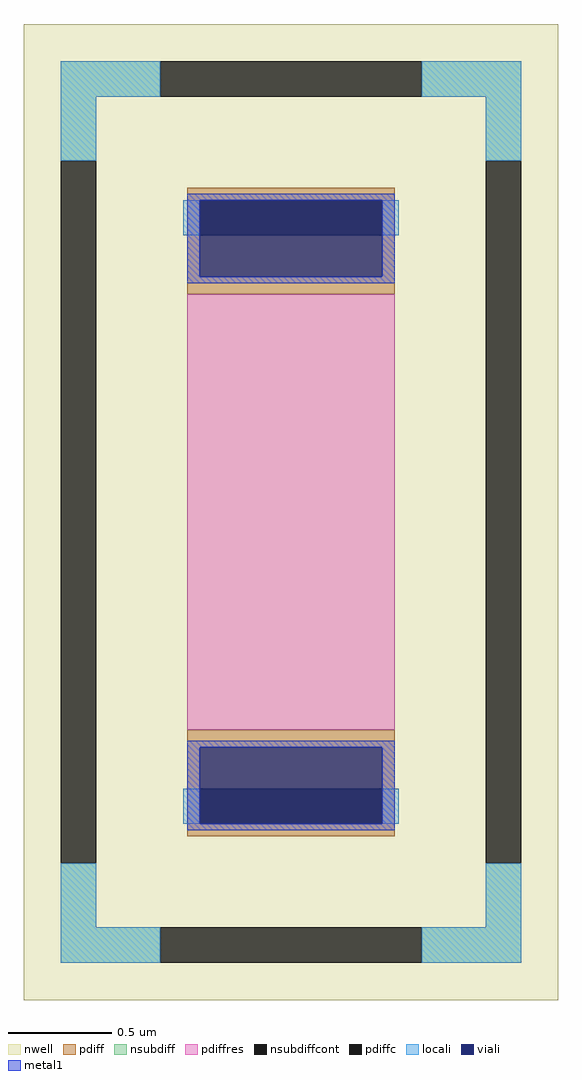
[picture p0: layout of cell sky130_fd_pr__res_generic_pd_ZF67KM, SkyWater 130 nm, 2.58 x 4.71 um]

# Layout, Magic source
magic
tech sky130A
magscale 1 2
<< nwell >>
rect -258 -471 258 471
<< pdiff >>
rect -100 301 100 313
rect -100 267 -88 301
rect 88 267 100 301
rect -100 210 100 267
rect -100 -267 100 -210
rect -100 -301 -88 -267
rect 88 -301 100 -267
rect -100 -313 100 -301
<< pdiffc >>
rect -88 267 88 301
rect -88 -301 88 -267
<< nsubdiff >>
rect -222 401 -126 435
rect 126 401 222 435
rect -222 339 -188 401
rect 188 339 222 401
rect -222 -401 -188 -339
rect 188 -401 222 -339
rect -222 -435 -126 -401
rect 126 -435 222 -401
<< nsubdiffcont >>
rect -126 401 126 435
rect -222 -339 -188 339
rect 188 -339 222 339
rect -126 -435 126 -401
<< pdiffres >>
rect -100 -210 100 210
<< locali >>
rect -222 401 -126 435
rect 126 401 222 435
rect -222 339 -188 401
rect 188 339 222 401
rect -104 267 -88 301
rect 88 267 104 301
rect -104 -301 -88 -267
rect 88 -301 104 -267
rect -222 -401 -188 -339
rect 188 -401 222 -339
rect -222 -435 -126 -401
rect 126 -435 222 -401
<< viali >>
rect -88 267 88 301
rect -88 227 88 267
rect -88 -267 88 -227
rect -88 -301 88 -267
<< metal1 >>
rect -100 301 100 307
rect -100 227 -88 301
rect 88 227 100 301
rect -100 221 100 227
rect -100 -227 100 -221
rect -100 -301 -88 -227
rect 88 -301 100 -227
rect -100 -307 100 -301
<< properties >>
string FIXED_BBOX -205 -418 205 418
string gencell sky130_fd_pr__res_generic_pd
string library sky130
string parameters w 1 l 2.10 m 1 nx 1 wmin 0.42 lmin 2.10 rho 197 val 422.142 dummy 0 dw 0.02 term 0.0 sterm 0.0 caplen 0.60 snake 0 guard 1 glc 1 grc 1 gtc 1 gbc 1 roverlap 0 endcov 100 full_metal 1 vias 1 viagb 0 viagt 0 viagl 0 viagr 0
<< end >>
